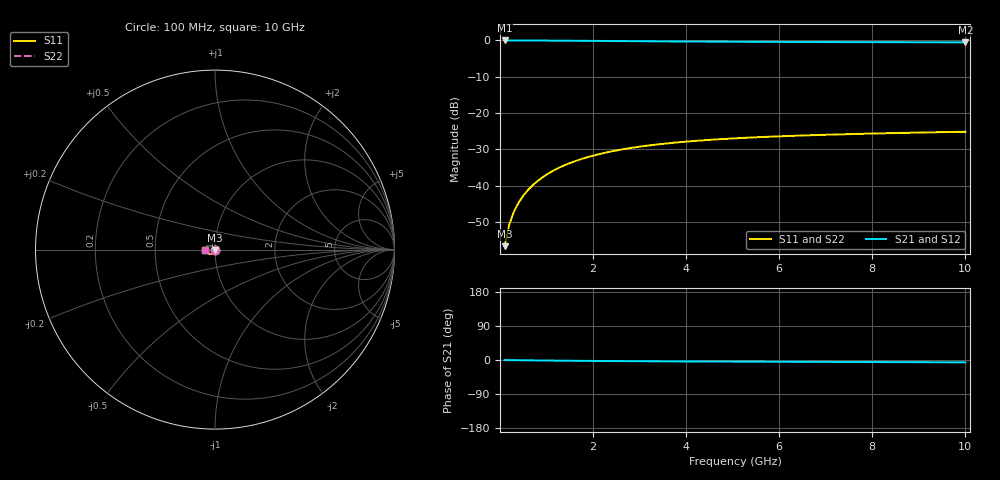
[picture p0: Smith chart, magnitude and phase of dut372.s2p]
! Touchstone file exported from HFSS 2024.1.0
!  File:  C:/UserFiles/LocalFiles/RDL_TSV_Batchsim/temp_TSV1_372_1779622055.aedt
!  Generated:  07:32:36 PM May 24, 2026
!  Design:  TSV1
!  Project:  temp_TSV1_372_1779622055
!  Setup:  Setup1
!  Solution:  Sweep
! Variables:
!  dtsv = 9.83um
!  hbump = 3um
!  htsv = 97.95um
!  lrdl = 252.1521522um
!  p = 40
!  p1 = 48.47um
!  t = 500um
!  trdl = 3um
!  wrdl = 24.89489489um
# GHz S MA R 50.000000
! Terminal data exported
! Port[1] = TSV22_T1
! Port[2] = TSV22_T2
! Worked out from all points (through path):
!   100 points, 100 MHz to 10 GHz, reference 50 ohm
!   highest |S21| = 0.00 dB at 100 MHz (marker M1); lowest = -0.5 dB at 10 GHz (marker M2)
!   lowest |S11| = -56.7 dB at 100 MHz (marker M3), VSWR 1.00, Z = 50 - j0.145 ohm
!   |S11| at or under -10 dB: start of sweep to end of sweep
!   |S22| runs from -56.7 to -25.2 dB; largest |S21 - S12| = 6.2e-15
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0.1  0.00146 -85.0  0.9998 -0.1  0.9998 -0.1  0.00146 -85.0
! Gamma 0 0 0 0
! Port Impedance 50 0 50 0
0.2  0.002905 -89.9  0.9996 -0.3  0.9996 -0.3  0.002905 -89.9
0.3  0.004352 -92.7  0.9994 -0.4  0.9994 -0.4  0.004352 -92.7
0.4  0.005795 -95.0  0.9991 -0.6  0.9991 -0.6  0.005795 -95.0
0.5  0.007228 -97.1  0.9987 -0.7  0.9987 -0.7  0.007228 -97.1
0.6  0.008648 -99.0  0.9982 -0.9  0.9982 -0.9  0.008648 -99.0
0.7  0.01005 -100.9  0.9976 -1.0  0.9976 -1.0  0.01005 -100.9
0.8  0.01143 -102.7  0.997 -1.1  0.997 -1.1  0.01143 -102.7
0.9  0.01279 -104.5  0.9963 -1.3  0.9963 -1.3  0.01279 -104.5
1.1  0.01544 -107.9  0.9948 -1.5  0.9948 -1.5  0.01544 -107.9
1.4  0.01918 -112.9  0.9921 -1.9  0.9921 -1.9  0.01918 -112.9
1.6  0.02152 -116.0  0.9902 -2.1  0.9902 -2.1  0.02152 -116.0
1.8  0.02373 -119.0  0.9881 -2.3  0.9881 -2.3  0.02373 -119.0
2.1  0.0268 -123.3  0.985 -2.6  0.985 -2.6  0.0268 -123.3
2.5  0.03044 -128.6  0.9808 -2.9  0.9808 -2.9  0.03044 -128.6
2.9  0.03361 -133.4  0.9767 -3.2  0.9767 -3.2  0.03361 -133.4
3.4  0.03697 -138.9  0.972 -3.5  0.972 -3.5  0.03697 -138.9
4.2  0.04126 -146.5  0.9654 -3.9  0.9654 -3.9  0.04126 -146.5
5.1  0.0449 -153.8  0.9594 -4.3  0.9594 -4.3  0.0449 -153.8
6.7  0.04943 -164.1  0.9517 -4.9  0.9517 -4.9  0.04943 -164.1
8.4  0.05275 -172.9  0.9463 -5.5  0.9463 -5.5  0.05275 -172.9
10  0.05516 -179.8  0.9428 -6.1  0.9428 -6.1  0.05516 -179.8
